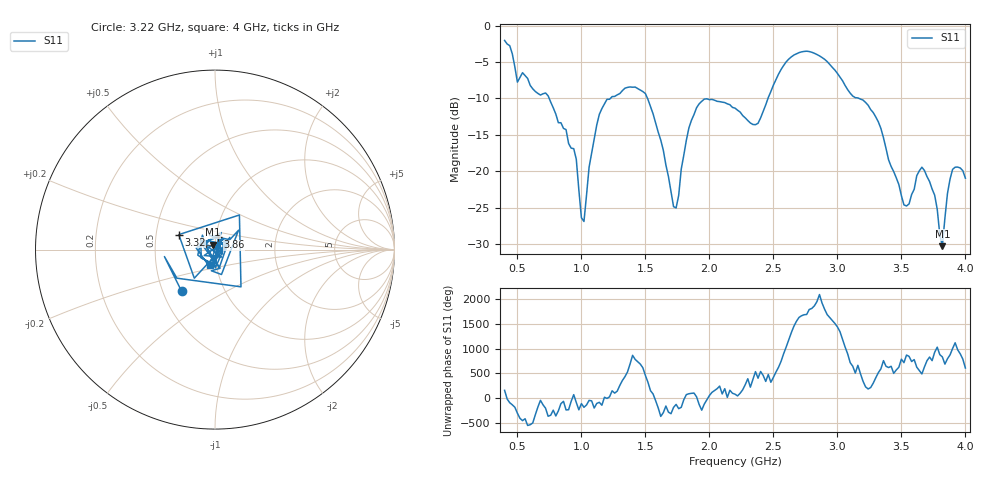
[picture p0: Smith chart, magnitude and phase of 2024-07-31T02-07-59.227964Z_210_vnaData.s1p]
!Created with skrf (http://scikit-rf.org).
# Hz S RI R 50.0
!freq ReS11 ImS11
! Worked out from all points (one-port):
!   181 points, 400 MHz to 4 GHz, reference 50 ohm
!   lowest |S11| = -30.3 dB at 3.82 GHz (marker M1), VSWR 1.06, Z = 48.7 + j2.71 ohm
!   |S11| at or under -10 dB: 748.6 MHz to 1.226 GHz (477.3 MHz wide, 48.3 % of centre); 1.517 GHz to 2.457 GHz (940.7 MHz wide, 47.3 % of centre); 3.17 GHz to end of sweep
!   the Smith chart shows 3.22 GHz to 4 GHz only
!   S11 on the Smith chart (normalised r, x): 3.22 GHz: 0.62, -0.32; 3.32 GHz: 0.66, +0.12; 3.86 GHz: 1.02, +0.14; 4 GHz: 0.93, -0.16
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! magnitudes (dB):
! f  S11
! 400 MHz  -2.0
! 500 MHz  -7.8
! 720 MHz  -9.2
! 860 MHz  -14.1
! 960 MHz  -18.3
! 1 GHz  -26.4
! 1.02 GHz  -26.9
! 1.06 GHz  -19.4
! 1.14 GHz  -12.2
! 1.3 GHz  -9.3
! 1.5 GHz  -9.3
! 1.72 GHz  -24.9
! 1.76 GHz  -23.3
! 1.82 GHz  -15.7
! 1.9 GHz  -11.3
! 2.2 GHz  -11.3
! 2.38 GHz  -13.4
! 2.66 GHz  -4.0
! 3.1 GHz  -9.3
! 3.22 GHz  -10.5
! 3.32 GHz  -13.2
! 3.56 GHz  -24.5
! 3.68 GHz  -19.9
! 3.76 GHz  -23.3
! 3.82 GHz  -30.3
! 3.86 GHz  -23.0
! 3.92 GHz  -19.4
! 4 GHz  -20.9
